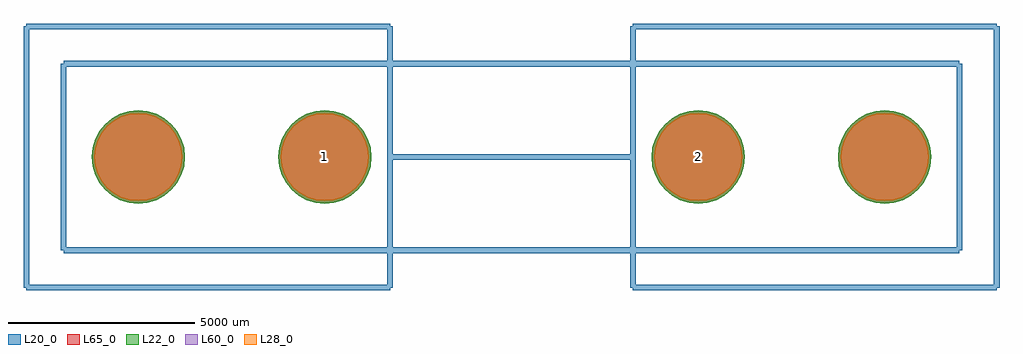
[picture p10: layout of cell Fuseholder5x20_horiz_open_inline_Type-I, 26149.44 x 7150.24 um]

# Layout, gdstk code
import gdstk
lib = gdstk.Library(unit=1e-6, precision=1e-09)
def P(c, l, *ps):  # polygons
    for p in ps: c.add(gdstk.Polygon(p, *l))
L20_0 = (20, 0)
L22_0 = (22, 0)
L28_0 = (28, 0)
L60_0 = (60, 0)
L65_0 = (65, 0)

fuseholder5x20_horiz_ope = lib.new_cell('Fuseholder5x20_horiz_open_inline_Type-I')
P(fuseholder5x20_horiz_ope, L22_0, [(-8750.23,0),(-8774.244,243.814),(-8845.362,478.259),(-8960.851,694.324),(-9116.273,883.707),(-9305.656,1039.129),(-9521.721,1154.618),(-9756.166,1225.736),(-9999.98,1249.75),(-10243.794,1225.736),(-10478.239,1154.618),(-10694.304,1039.129),(-10883.687,883.707),(-11039.109,694.324),(-11154.598,478.259),(-11225.716,243.814),(-11249.73,0),(-11225.716,-243.814),(-11154.598,-478.259),(-11039.109,-694.324),(-10883.687,-883.707),(-10694.304,-1039.129),(-10478.239,-1154.618),(-10243.794,-1225.736),(-9999.98,-1249.75),(-9756.166,-1225.736),(-9521.721,-1154.618),(-9305.656,-1039.129),(-9116.273,-883.707),(-8960.851,-694.324),(-8845.362,-478.259),(-8774.244,-243.814)],
  [(-3751.51,0),(-3775.524,243.814),(-3846.642,478.259),(-3962.131,694.324),(-4117.553,883.707),(-4306.936,1039.129),(-4523.001,1154.618),(-4757.446,1225.736),(-5001.26,1249.75),(-5245.074,1225.736),(-5479.519,1154.618),(-5695.584,1039.129),(-5884.967,883.707),(-6040.389,694.324),(-6155.878,478.259),(-6226.996,243.814),(-6251.01,0),(-6226.996,-243.814),(-6155.878,-478.259),(-6040.389,-694.324),(-5884.967,-883.707),(-5695.584,-1039.129),(-5479.519,-1154.618),(-5245.074,-1225.736),(-5001.26,-1249.75),(-4757.446,-1225.736),(-4523.001,-1154.618),(-4306.936,-1039.129),(-4117.553,-883.707),(-3962.131,-694.324),(-3846.642,-478.259),(-3775.524,-243.814)],
  [(11249.73,0),(11225.716,243.814),(11154.598,478.259),(11039.109,694.324),(10883.687,883.707),(10694.304,1039.129),(10478.239,1154.618),(10243.794,1225.736),(9999.98,1249.75),(9756.166,1225.736),(9521.721,1154.618),(9305.656,1039.129),(9116.273,883.707),(8960.851,694.324),(8845.362,478.259),(8774.244,243.814),(8750.23,0),(8774.244,-243.814),(8845.362,-478.259),(8960.851,-694.324),(9116.273,-883.707),(9305.656,-1039.129),(9521.721,-1154.618),(9756.166,-1225.736),(9999.98,-1249.75),(10243.794,-1225.736),(10478.239,-1154.618),(10694.304,-1039.129),(10883.687,-883.707),(11039.109,-694.324),(11154.598,-478.259),(11225.716,-243.814)],
  [(6251.01,0),(6226.996,243.814),(6155.878,478.259),(6040.389,694.324),(5884.967,883.707),(5695.584,1039.129),(5479.519,1154.618),(5245.074,1225.736),(5001.26,1249.75),(4757.446,1225.736),(4523.001,1154.618),(4306.936,1039.129),(4117.553,883.707),(3962.131,694.324),(3846.642,478.259),(3775.524,243.814),(3751.51,0),(3775.524,-243.814),(3846.642,-478.259),(3962.131,-694.324),(4117.553,-883.707),(4306.936,-1039.129),(4523.001,-1154.618),(4757.446,-1225.736),(5001.26,-1249.75),(5245.074,-1225.736),(5479.519,-1154.618),(5695.584,-1039.129),(5884.967,-883.707),(6040.389,-694.324),(6155.878,-478.259),(6226.996,-243.814)])
P(fuseholder5x20_horiz_ope, L28_0, [(-8825.23,0),(-8847.802,229.182),(-8914.653,449.557),(-9023.211,652.656),(-9169.306,830.674),(-9347.324,976.769),(-9550.423,1085.327),(-9770.798,1152.178),(-9999.98,1174.75),(-10229.162,1152.178),(-10449.537,1085.327),(-10652.636,976.769),(-10830.654,830.674),(-10976.749,652.656),(-11085.307,449.557),(-11152.158,229.182),(-11174.73,0),(-11152.158,-229.182),(-11085.307,-449.557),(-10976.749,-652.656),(-10830.654,-830.674),(-10652.636,-976.769),(-10449.537,-1085.327),(-10229.162,-1152.178),(-9999.98,-1174.75),(-9770.798,-1152.178),(-9550.423,-1085.327),(-9347.324,-976.769),(-9169.306,-830.674),(-9023.211,-652.656),(-8914.653,-449.557),(-8847.802,-229.182)],
  [(-3826.51,0),(-3849.082,229.182),(-3915.933,449.557),(-4024.491,652.656),(-4170.586,830.674),(-4348.604,976.769),(-4551.703,1085.327),(-4772.078,1152.178),(-5001.26,1174.75),(-5230.442,1152.178),(-5450.817,1085.327),(-5653.916,976.769),(-5831.934,830.674),(-5978.029,652.656),(-6086.587,449.557),(-6153.438,229.182),(-6176.01,0),(-6153.438,-229.182),(-6086.587,-449.557),(-5978.029,-652.656),(-5831.934,-830.674),(-5653.916,-976.769),(-5450.817,-1085.327),(-5230.442,-1152.178),(-5001.26,-1174.75),(-4772.078,-1152.178),(-4551.703,-1085.327),(-4348.604,-976.769),(-4170.586,-830.674),(-4024.491,-652.656),(-3915.933,-449.557),(-3849.082,-229.182)],
  [(11174.73,0),(11152.158,229.182),(11085.307,449.557),(10976.749,652.656),(10830.654,830.674),(10652.636,976.769),(10449.537,1085.327),(10229.162,1152.178),(9999.98,1174.75),(9770.798,1152.178),(9550.423,1085.327),(9347.324,976.769),(9169.306,830.674),(9023.211,652.656),(8914.653,449.557),(8847.802,229.182),(8825.23,0),(8847.802,-229.182),(8914.653,-449.557),(9023.211,-652.656),(9169.306,-830.674),(9347.324,-976.769),(9550.423,-1085.327),(9770.798,-1152.178),(9999.98,-1174.75),(10229.162,-1152.178),(10449.537,-1085.327),(10652.636,-976.769),(10830.654,-830.674),(10976.749,-652.656),(11085.307,-449.557),(11152.158,-229.182)],
  [(6176.01,0),(6153.438,229.182),(6086.587,449.557),(5978.029,652.656),(5831.934,830.674),(5653.916,976.769),(5450.817,1085.327),(5230.442,1152.178),(5001.26,1174.75),(4772.078,1152.178),(4551.703,1085.327),(4348.604,976.769),(4170.586,830.674),(4024.491,652.656),(3915.933,449.557),(3849.082,229.182),(3826.51,0),(3849.082,-229.182),(3915.933,-449.557),(4024.491,-652.656),(4170.586,-830.674),(4348.604,-976.769),(4551.703,-1085.327),(4772.078,-1152.178),(5001.26,-1174.75),(5230.442,-1152.178),(5450.817,-1085.327),(5653.916,-976.769),(5831.934,-830.674),(5978.029,-652.656),(6086.587,-449.557),(6153.438,-229.182)])
P(fuseholder5x20_horiz_ope, L60_0, [(-8825.23,0),(-8847.802,229.182),(-8914.653,449.557),(-9023.211,652.656),(-9169.306,830.674),(-9347.324,976.769),(-9550.423,1085.327),(-9770.798,1152.178),(-9999.98,1174.75),(-10229.162,1152.178),(-10449.537,1085.327),(-10652.636,976.769),(-10830.654,830.674),(-10976.749,652.656),(-11085.307,449.557),(-11152.158,229.182),(-11174.73,0),(-11152.158,-229.182),(-11085.307,-449.557),(-10976.749,-652.656),(-10830.654,-830.674),(-10652.636,-976.769),(-10449.537,-1085.327),(-10229.162,-1152.178),(-9999.98,-1174.75),(-9770.798,-1152.178),(-9550.423,-1085.327),(-9347.324,-976.769),(-9169.306,-830.674),(-9023.211,-652.656),(-8914.653,-449.557),(-8847.802,-229.182)],
  [(-3826.51,0),(-3849.082,229.182),(-3915.933,449.557),(-4024.491,652.656),(-4170.586,830.674),(-4348.604,976.769),(-4551.703,1085.327),(-4772.078,1152.178),(-5001.26,1174.75),(-5230.442,1152.178),(-5450.817,1085.327),(-5653.916,976.769),(-5831.934,830.674),(-5978.029,652.656),(-6086.587,449.557),(-6153.438,229.182),(-6176.01,0),(-6153.438,-229.182),(-6086.587,-449.557),(-5978.029,-652.656),(-5831.934,-830.674),(-5653.916,-976.769),(-5450.817,-1085.327),(-5230.442,-1152.178),(-5001.26,-1174.75),(-4772.078,-1152.178),(-4551.703,-1085.327),(-4348.604,-976.769),(-4170.586,-830.674),(-4024.491,-652.656),(-3915.933,-449.557),(-3849.082,-229.182)],
  [(11174.73,0),(11152.158,229.182),(11085.307,449.557),(10976.749,652.656),(10830.654,830.674),(10652.636,976.769),(10449.537,1085.327),(10229.162,1152.178),(9999.98,1174.75),(9770.798,1152.178),(9550.423,1085.327),(9347.324,976.769),(9169.306,830.674),(9023.211,652.656),(8914.653,449.557),(8847.802,229.182),(8825.23,0),(8847.802,-229.182),(8914.653,-449.557),(9023.211,-652.656),(9169.306,-830.674),(9347.324,-976.769),(9550.423,-1085.327),(9770.798,-1152.178),(9999.98,-1174.75),(10229.162,-1152.178),(10449.537,-1085.327),(10652.636,-976.769),(10830.654,-830.674),(10976.749,-652.656),(11085.307,-449.557),(11152.158,-229.182)],
  [(6176.01,0),(6153.438,229.182),(6086.587,449.557),(5978.029,652.656),(5831.934,830.674),(5653.916,976.769),(5450.817,1085.327),(5230.442,1152.178),(5001.26,1174.75),(4772.078,1152.178),(4551.703,1085.327),(4348.604,976.769),(4170.586,830.674),(4024.491,652.656),(3915.933,449.557),(3849.082,229.182),(3826.51,0),(3849.082,-229.182),(3915.933,-449.557),(4024.491,-652.656),(4170.586,-830.674),(4348.604,-976.769),(4551.703,-1085.327),(4772.078,-1152.178),(5001.26,-1174.75),(5230.442,-1152.178),(5450.817,-1085.327),(5653.916,-976.769),(5831.934,-830.674),(5978.029,-652.656),(6086.587,-449.557),(6153.438,-229.182)])
P(fuseholder5x20_horiz_ope, L65_0, [(-8750.23,0),(-8774.244,243.814),(-8845.362,478.259),(-8960.851,694.324),(-9116.273,883.707),(-9305.656,1039.129),(-9521.721,1154.618),(-9756.166,1225.736),(-9999.98,1249.75),(-10243.794,1225.736),(-10478.239,1154.618),(-10694.304,1039.129),(-10883.687,883.707),(-11039.109,694.324),(-11154.598,478.259),(-11225.716,243.814),(-11249.73,0),(-11225.716,-243.814),(-11154.598,-478.259),(-11039.109,-694.324),(-10883.687,-883.707),(-10694.304,-1039.129),(-10478.239,-1154.618),(-10243.794,-1225.736),(-9999.98,-1249.75),(-9756.166,-1225.736),(-9521.721,-1154.618),(-9305.656,-1039.129),(-9116.273,-883.707),(-8960.851,-694.324),(-8845.362,-478.259),(-8774.244,-243.814)],
  [(-3751.51,0),(-3775.524,243.814),(-3846.642,478.259),(-3962.131,694.324),(-4117.553,883.707),(-4306.936,1039.129),(-4523.001,1154.618),(-4757.446,1225.736),(-5001.26,1249.75),(-5245.074,1225.736),(-5479.519,1154.618),(-5695.584,1039.129),(-5884.967,883.707),(-6040.389,694.324),(-6155.878,478.259),(-6226.996,243.814),(-6251.01,0),(-6226.996,-243.814),(-6155.878,-478.259),(-6040.389,-694.324),(-5884.967,-883.707),(-5695.584,-1039.129),(-5479.519,-1154.618),(-5245.074,-1225.736),(-5001.26,-1249.75),(-4757.446,-1225.736),(-4523.001,-1154.618),(-4306.936,-1039.129),(-4117.553,-883.707),(-3962.131,-694.324),(-3846.642,-478.259),(-3775.524,-243.814)],
  [(11249.73,0),(11225.716,243.814),(11154.598,478.259),(11039.109,694.324),(10883.687,883.707),(10694.304,1039.129),(10478.239,1154.618),(10243.794,1225.736),(9999.98,1249.75),(9756.166,1225.736),(9521.721,1154.618),(9305.656,1039.129),(9116.273,883.707),(8960.851,694.324),(8845.362,478.259),(8774.244,243.814),(8750.23,0),(8774.244,-243.814),(8845.362,-478.259),(8960.851,-694.324),(9116.273,-883.707),(9305.656,-1039.129),(9521.721,-1154.618),(9756.166,-1225.736),(9999.98,-1249.75),(10243.794,-1225.736),(10478.239,-1154.618),(10694.304,-1039.129),(10883.687,-883.707),(11039.109,-694.324),(11154.598,-478.259),(11225.716,-243.814)],
  [(6251.01,0),(6226.996,243.814),(6155.878,478.259),(6040.389,694.324),(5884.967,883.707),(5695.584,1039.129),(5479.519,1154.618),(5245.074,1225.736),(5001.26,1249.75),(4757.446,1225.736),(4523.001,1154.618),(4306.936,1039.129),(4117.553,883.707),(3962.131,694.324),(3846.642,478.259),(3775.524,243.814),(3751.51,0),(3775.524,-243.814),(3846.642,-478.259),(3962.131,-694.324),(4117.553,-883.707),(4306.936,-1039.129),(4523.001,-1154.618),(4757.446,-1225.736),(5001.26,-1249.75),(5245.074,-1225.736),(5479.519,-1154.618),(5695.584,-1039.129),(5884.967,-883.707),(6040.389,-694.324),(6155.878,-478.259),(6226.996,-243.814)])
fuseholder5x20_horiz_ope.add(gdstk.FlexPath([(-3251.2,3500.12),(-3251.2,-3500.12)], 149.998, ends="flush", simple_path=True, layer=20, datatype=0))  # L20_0
fuseholder5x20_horiz_ope.add(gdstk.FlexPath([(-3251.2,-3500.12),(-12999.72,-3500.12)], 149.998, ends="flush", simple_path=True, layer=20, datatype=0))  # L20_0
fuseholder5x20_horiz_ope.add(gdstk.FlexPath([(-12999.72,3500.12),(-12999.72,-3500.12)], 149.998, ends="flush", simple_path=True, layer=20, datatype=0))  # L20_0
fuseholder5x20_horiz_ope.add(gdstk.FlexPath([(-3251.2,3500.12),(-12999.72,3500.12)], 149.998, ends="flush", simple_path=True, layer=20, datatype=0))  # L20_0
fuseholder5x20_horiz_ope.add(gdstk.FlexPath([(-11998.96,2499.36),(-11998.96,-2499.36)], 149.998, ends="flush", simple_path=True, layer=20, datatype=0))  # L20_0
fuseholder5x20_horiz_ope.add(gdstk.FlexPath([(12999.72,-3500.12),(11998.96,-3500.12)], 149.998, ends="flush", simple_path=True, layer=20, datatype=0))  # L20_0
fuseholder5x20_horiz_ope.add(gdstk.FlexPath([(12999.72,3500.12),(12999.72,-3500.12)], 149.998, ends="flush", simple_path=True, layer=20, datatype=0))  # L20_0
fuseholder5x20_horiz_ope.add(gdstk.FlexPath([(12999.72,3500.12),(11998.96,3500.12)], 149.998, ends="flush", simple_path=True, layer=20, datatype=0))  # L20_0
fuseholder5x20_horiz_ope.add(gdstk.FlexPath([(11998.96,2499.36),(11998.96,-2499.36)], 149.998, ends="flush", simple_path=True, layer=20, datatype=0))  # L20_0
fuseholder5x20_horiz_ope.add(gdstk.FlexPath([(11998.96,2499.36),(1249.68,2499.36)], 149.998, ends="flush", simple_path=True, layer=20, datatype=0))  # L20_0
fuseholder5x20_horiz_ope.add(gdstk.FlexPath([(11998.96,-2499.36),(1501.14,-2499.36)], 149.998, ends="flush", simple_path=True, layer=20, datatype=0))  # L20_0
fuseholder5x20_horiz_ope.add(gdstk.FlexPath([(1249.68,2499.36),(-10500.36,2499.36)], 149.998, ends="flush", simple_path=True, layer=20, datatype=0))  # L20_0
fuseholder5x20_horiz_ope.add(gdstk.FlexPath([(1501.14,-2499.36),(-10749.28,-2499.36)], 149.998, ends="flush", simple_path=True, layer=20, datatype=0))  # L20_0
fuseholder5x20_horiz_ope.add(gdstk.FlexPath([(-10500.36,2499.36),(-11998.96,2499.36)], 149.998, ends="flush", simple_path=True, layer=20, datatype=0))  # L20_0
fuseholder5x20_horiz_ope.add(gdstk.FlexPath([(-10749.28,-2499.36),(-11998.96,-2499.36)], 149.998, ends="flush", simple_path=True, layer=20, datatype=0))  # L20_0
fuseholder5x20_horiz_ope.add(gdstk.FlexPath([(11998.96,3500.12),(3251.2,3500.12)], 149.998, ends="flush", simple_path=True, layer=20, datatype=0))  # L20_0
fuseholder5x20_horiz_ope.add(gdstk.FlexPath([(11998.96,-3500.12),(3251.2,-3500.12)], 149.998, ends="flush", simple_path=True, layer=20, datatype=0))  # L20_0
fuseholder5x20_horiz_ope.add(gdstk.FlexPath([(3251.2,3500.12),(3251.2,-3500.12)], 149.998, ends="flush", simple_path=True, layer=20, datatype=0))  # L20_0
fuseholder5x20_horiz_ope.add(gdstk.FlexPath([(3251.2,0),(-3251.2,0)], 149.998, ends="flush", simple_path=True, layer=20, datatype=0))  # L20_0
fuseholder5x20_horiz_ope.add(gdstk.Label('1', (-5001.26,0), layer=28, texttype=0))
fuseholder5x20_horiz_ope.add(gdstk.Label('2', (5001.26,0), layer=28, texttype=0))
fuseholder5x20_horiz_ope.add(gdstk.Label('type', (1270,-5080), layer=9, texttype=0))
fuseholder5x20_horiz_ope.add(gdstk.Label('devicename', (0,5080), layer=9, texttype=0))

lib.write_gds('Fuseholder5x20_horiz_open_inline_Type-I.gds')
